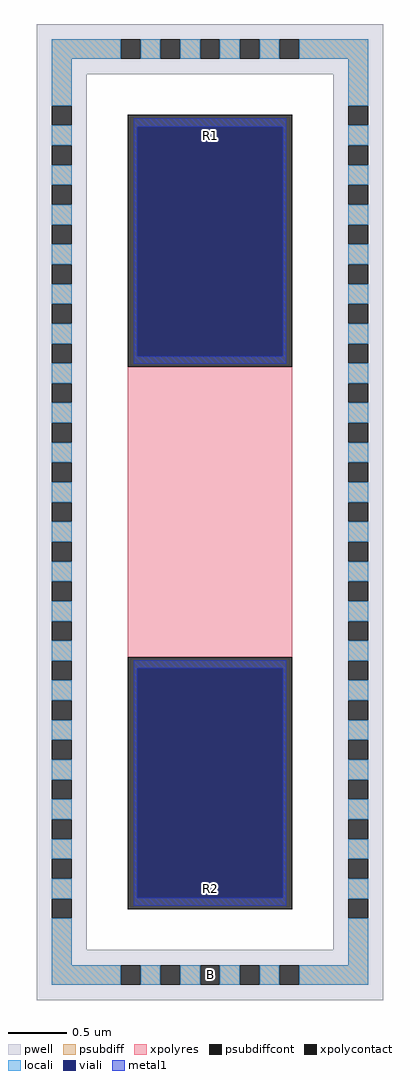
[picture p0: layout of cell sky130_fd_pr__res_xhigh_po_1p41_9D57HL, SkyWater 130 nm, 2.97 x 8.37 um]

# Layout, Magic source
magic
tech sky130A
magscale 1 2
<< pwell >>
rect -297 751 297 837
rect -297 -751 -211 751
rect 211 -751 297 751
rect -297 -837 297 -751
<< psubdiff >>
rect -271 777 -153 811
rect -119 777 -85 811
rect -51 777 -17 811
rect 17 777 51 811
rect 85 777 119 811
rect 153 777 271 811
rect -271 697 -237 777
rect 237 697 271 777
rect -271 629 -237 663
rect -271 561 -237 595
rect -271 493 -237 527
rect -271 425 -237 459
rect -271 357 -237 391
rect -271 289 -237 323
rect -271 221 -237 255
rect -271 153 -237 187
rect -271 85 -237 119
rect -271 17 -237 51
rect -271 -51 -237 -17
rect -271 -119 -237 -85
rect -271 -187 -237 -153
rect -271 -255 -237 -221
rect -271 -323 -237 -289
rect -271 -391 -237 -357
rect -271 -459 -237 -425
rect -271 -527 -237 -493
rect -271 -595 -237 -561
rect -271 -663 -237 -629
rect 237 629 271 663
rect 237 561 271 595
rect 237 493 271 527
rect 237 425 271 459
rect 237 357 271 391
rect 237 289 271 323
rect 237 221 271 255
rect 237 153 271 187
rect 237 85 271 119
rect 237 17 271 51
rect 237 -51 271 -17
rect 237 -119 271 -85
rect 237 -187 271 -153
rect 237 -255 271 -221
rect 237 -323 271 -289
rect 237 -391 271 -357
rect 237 -459 271 -425
rect 237 -527 271 -493
rect 237 -595 271 -561
rect 237 -663 271 -629
rect -271 -777 -237 -697
rect 237 -777 271 -697
rect -271 -811 -153 -777
rect -119 -811 -85 -777
rect -51 -811 -17 -777
rect 17 -811 51 -777
rect 85 -811 119 -777
rect 153 -811 271 -777
<< psubdiffcont >>
rect -153 777 -119 811
rect -85 777 -51 811
rect -17 777 17 811
rect 51 777 85 811
rect 119 777 153 811
rect -271 663 -237 697
rect -271 595 -237 629
rect -271 527 -237 561
rect -271 459 -237 493
rect -271 391 -237 425
rect -271 323 -237 357
rect -271 255 -237 289
rect -271 187 -237 221
rect -271 119 -237 153
rect -271 51 -237 85
rect -271 -17 -237 17
rect -271 -85 -237 -51
rect -271 -153 -237 -119
rect -271 -221 -237 -187
rect -271 -289 -237 -255
rect -271 -357 -237 -323
rect -271 -425 -237 -391
rect -271 -493 -237 -459
rect -271 -561 -237 -527
rect -271 -629 -237 -595
rect -271 -697 -237 -663
rect 237 663 271 697
rect 237 595 271 629
rect 237 527 271 561
rect 237 459 271 493
rect 237 391 271 425
rect 237 323 271 357
rect 237 255 271 289
rect 237 187 271 221
rect 237 119 271 153
rect 237 51 271 85
rect 237 -17 271 17
rect 237 -85 271 -51
rect 237 -153 271 -119
rect 237 -221 271 -187
rect 237 -289 271 -255
rect 237 -357 271 -323
rect 237 -425 271 -391
rect 237 -493 271 -459
rect 237 -561 271 -527
rect 237 -629 271 -595
rect 237 -697 271 -663
rect -153 -811 -119 -777
rect -85 -811 -51 -777
rect -17 -811 17 -777
rect 51 -811 85 -777
rect 119 -811 153 -777
<< xpolycontact >>
rect -141 249 141 681
rect -141 -681 141 -249
<< xpolyres >>
rect -141 -249 141 249
<< locali >>
rect -271 777 -153 811
rect -119 777 -85 811
rect -51 777 -17 811
rect 17 777 51 811
rect 85 777 119 811
rect 153 777 271 811
rect -271 697 -237 777
rect 237 697 271 777
rect -271 629 -237 663
rect -271 561 -237 595
rect -271 493 -237 527
rect -271 425 -237 459
rect -271 357 -237 391
rect -271 289 -237 323
rect -271 221 -237 255
rect 237 629 271 663
rect 237 561 271 595
rect 237 493 271 527
rect 237 425 271 459
rect 237 357 271 391
rect 237 289 271 323
rect -271 153 -237 187
rect -271 85 -237 119
rect -271 17 -237 51
rect -271 -51 -237 -17
rect -271 -119 -237 -85
rect -271 -187 -237 -153
rect -271 -255 -237 -221
rect 237 221 271 255
rect 237 153 271 187
rect 237 85 271 119
rect 237 17 271 51
rect 237 -51 271 -17
rect 237 -119 271 -85
rect 237 -187 271 -153
rect -271 -323 -237 -289
rect -271 -391 -237 -357
rect -271 -459 -237 -425
rect -271 -527 -237 -493
rect -271 -595 -237 -561
rect -271 -663 -237 -629
rect 237 -255 271 -221
rect 237 -323 271 -289
rect 237 -391 271 -357
rect 237 -459 271 -425
rect 237 -527 271 -493
rect 237 -595 271 -561
rect 237 -663 271 -629
rect -271 -777 -237 -697
rect 237 -777 271 -697
rect -271 -811 -153 -777
rect -119 -811 -85 -777
rect -51 -811 -17 -777
rect 17 -811 51 -777
rect 85 -811 119 -777
rect 153 -811 271 -777
<< viali >>
rect -125 267 125 661
rect -125 -662 125 -268
<< metal1 >>
rect -131 661 131 675
rect -131 267 -125 661
rect 125 267 131 661
rect -131 254 131 267
rect -131 -268 131 -254
rect -131 -662 -125 -268
rect 125 -662 131 -268
rect -131 -675 131 -662
<< labels >>
rlabel locali s 0 -794 0 -794 4 B
rlabel locali s 0 646 0 646 4 R1
rlabel locali s 0 -646 0 -646 4 R2
<< properties >>
string FIXED_BBOX -254 -794 254 794
<< end >>
